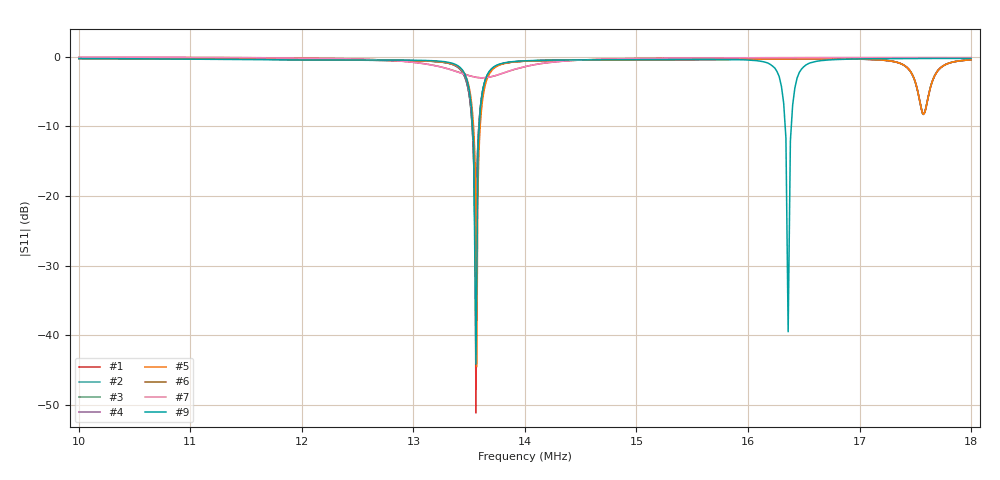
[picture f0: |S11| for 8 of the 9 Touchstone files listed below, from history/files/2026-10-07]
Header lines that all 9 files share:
! NanoVNA Web complex sweep
# Hz S RI R 50
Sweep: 10 MHz to 18 MHz
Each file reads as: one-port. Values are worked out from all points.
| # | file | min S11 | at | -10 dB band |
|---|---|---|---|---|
| 1 | AIT_T106_L075_copper-braids_50+50ser_300sh_218-2core_rep1_nanovna-sweep-1791392527758.s1p | -51.2 dB | 13.56 MHz | 59.88 kHz wide |
| 2 | AIT_T106_L075_copper-braids_50+50ser_300sh_218-2core_rep2_nanovna-sweep-1791392583410.s1p | -27.9 dB | 13.56 MHz | 59.97 kHz wide |
| 3 | AIT_T106_L075_copper-braids_50+50ser_300sh_218-2core_rep3-fan-on_nanovna-sweep-1791392619253.s1p | -27.4 dB | 13.55 MHz | 60.02 kHz wide |
| 4 | AIT_T106_L075_copper-braids_50+50ser_300sh_218-2core_rep4-fan-off_nanovna-sweep-1791392634560.s1p | -27.7 dB | 13.56 MHz | 59.97 kHz wide |
| 5 | AIT_T106_L075_copper-braids_50+50ser_300sh_218-2core_rep5-fan-off_nanovna-sweep-1791392657714.s1p | -44.5 dB | 13.57 MHz | 60 kHz wide |
| 6 | copper-braids_50+50ser_300sh_218-2core_noAIT_rep1_nanovna-sweep-1791392261165.s1p | -3.0 dB | 13.62 MHz | - |
| 7 | copper-braids_50+50ser_300sh_218-2core_noAIT_rep2_nanovna-sweep-1791392321670.s1p | -3.0 dB | 13.61 MHz | - |
| 8 | copper-braids_50+50ser_300sh_218-2core_noAIT_rep3_nanovna-sweep-1791392335976.s1p | -3.0 dB | 13.62 MHz | - |
| 9 | new-shunt-cable_AIT_T1.50_L1.57_nanovna-sweep-1791405848912.s1p | -44.2 dB | 13.56 MHz | 59.81 kHz wide |
